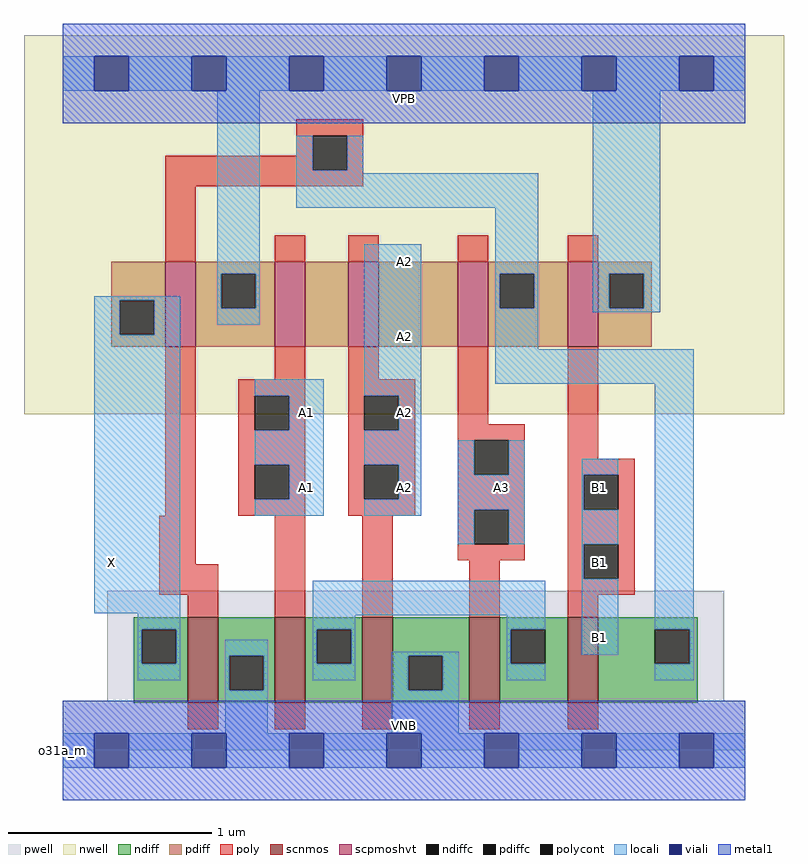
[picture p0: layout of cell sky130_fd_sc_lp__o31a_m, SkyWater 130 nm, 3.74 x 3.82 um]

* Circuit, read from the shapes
.subckt sky130_fd_sc_lp__o31a_m A1 A2 A3 B1 VGND VNB VPB VPWR X
XM1 VGND n1 X VNB sky130_fd_pr__nfet_01v8 w=0.42 l=0.15
XM2 n2 A1 VGND VNB sky130_fd_pr__nfet_01v8 w=0.42 l=0.15
XM3 VGND A2 n2 VNB sky130_fd_pr__nfet_01v8 w=0.42 l=0.15
XM4 n2 A3 VGND VNB sky130_fd_pr__nfet_01v8 w=0.42 l=0.15
XM5 n1 B1 n2 VNB sky130_fd_pr__nfet_01v8 w=0.42 l=0.15
XM6 VPWR n1 X VPB sky130_fd_pr__pfet_01v8_hvt w=0.42 l=0.15
XM7 n3 A1 VPWR VPB sky130_fd_pr__pfet_01v8_hvt w=0.42 l=0.15
XM8 n4 A2 n3 VPB sky130_fd_pr__pfet_01v8_hvt w=0.42 l=0.15
XM9 n1 A3 n4 VPB sky130_fd_pr__pfet_01v8_hvt w=0.42 l=0.15
XM10 VPWR B1 n1 VPB sky130_fd_pr__pfet_01v8_hvt w=0.42 l=0.15
.ends

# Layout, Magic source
magic
tech sky130A
magscale 1 2
<< nwell >>
rect -38 331 710 704
<< pwell >>
rect 44 49 651 157
rect 0 0 672 49
<< scnmos >>
rect 123 47 153 131
rect 209 47 239 131
rect 295 47 325 131
rect 400 47 430 131
rect 497 47 527 131
<< scpmoshvt >>
rect 101 397 131 481
rect 209 397 239 481
rect 281 397 311 481
rect 389 397 419 481
rect 497 397 527 481
<< ndiff >>
rect 70 119 123 131
rect 70 85 78 119
rect 112 85 123 119
rect 70 47 123 85
rect 153 93 209 131
rect 153 59 164 93
rect 198 59 209 93
rect 153 47 209 59
rect 239 119 295 131
rect 239 85 250 119
rect 284 85 295 119
rect 239 47 295 85
rect 325 93 400 131
rect 325 59 340 93
rect 374 59 400 93
rect 325 47 400 59
rect 430 119 497 131
rect 430 85 441 119
rect 475 85 497 119
rect 430 47 497 85
rect 527 119 625 131
rect 527 85 583 119
rect 617 85 625 119
rect 527 47 625 85
<< pdiff >>
rect 48 443 101 481
rect 48 409 56 443
rect 90 409 101 443
rect 48 397 101 409
rect 131 469 209 481
rect 131 435 156 469
rect 190 435 209 469
rect 131 397 209 435
rect 239 397 281 481
rect 311 397 389 481
rect 419 469 497 481
rect 419 435 430 469
rect 464 435 497 469
rect 419 397 497 435
rect 527 469 580 481
rect 527 435 538 469
rect 572 435 580 469
rect 527 397 580 435
<< ndiffc >>
rect 78 85 112 119
rect 164 59 198 93
rect 250 85 284 119
rect 340 59 374 93
rect 441 85 475 119
rect 583 85 617 119
<< pdiffc >>
rect 56 409 90 443
rect 156 435 190 469
rect 430 435 464 469
rect 538 435 572 469
<< poly >>
rect 230 605 296 621
rect 230 585 246 605
rect 101 571 246 585
rect 280 571 296 605
rect 101 555 296 571
rect 101 481 131 555
rect 209 481 239 507
rect 281 481 311 507
rect 389 481 419 507
rect 497 481 527 507
rect 101 231 131 397
rect 209 365 239 397
rect 173 349 239 365
rect 173 315 189 349
rect 223 315 239 349
rect 173 281 239 315
rect 173 247 189 281
rect 223 247 239 281
rect 173 231 239 247
rect 281 365 311 397
rect 281 349 347 365
rect 281 315 297 349
rect 331 315 347 349
rect 281 281 347 315
rect 281 247 297 281
rect 331 247 347 281
rect 281 231 347 247
rect 389 321 419 397
rect 389 305 455 321
rect 389 271 405 305
rect 439 271 455 305
rect 389 237 455 271
rect 95 183 131 231
rect 95 153 153 183
rect 123 131 153 153
rect 209 131 239 231
rect 295 131 325 231
rect 389 203 405 237
rect 439 203 455 237
rect 389 187 455 203
rect 497 287 527 397
rect 497 271 563 287
rect 497 237 513 271
rect 547 237 563 271
rect 497 203 563 237
rect 400 131 430 187
rect 497 169 513 203
rect 547 169 563 203
rect 497 153 563 169
rect 497 131 527 153
rect 123 21 153 47
rect 209 21 239 47
rect 295 21 325 47
rect 400 21 430 47
rect 497 21 527 47
<< polycont >>
rect 246 571 280 605
rect 189 315 223 349
rect 189 247 223 281
rect 297 315 331 349
rect 297 247 331 281
rect 405 271 439 305
rect 405 203 439 237
rect 513 237 547 271
rect 513 169 547 203
<< locali >>
rect 0 649 31 683
rect 65 649 127 683
rect 161 649 223 683
rect 257 649 319 683
rect 353 649 415 683
rect 449 649 511 683
rect 545 649 607 683
rect 641 649 672 683
rect 152 469 194 649
rect 230 571 246 605
rect 280 571 296 605
rect 230 568 296 571
rect 230 534 468 568
rect 31 443 116 447
rect 31 409 56 443
rect 90 409 116 443
rect 152 435 156 469
rect 190 435 194 469
rect 152 419 194 435
rect 31 135 116 409
rect 189 349 257 365
rect 223 315 257 349
rect 189 281 257 315
rect 223 247 257 281
rect 189 231 257 247
rect 297 349 353 498
rect 426 469 468 534
rect 426 435 430 469
rect 464 435 468 469
rect 426 395 468 435
rect 522 469 588 649
rect 522 435 538 469
rect 572 435 588 469
rect 522 431 588 435
rect 426 361 621 395
rect 331 315 353 349
rect 297 281 353 315
rect 331 247 353 281
rect 297 231 353 247
rect 389 271 405 305
rect 439 271 455 305
rect 389 237 455 271
rect 389 203 405 237
rect 439 203 455 237
rect 511 271 547 287
rect 511 237 513 271
rect 511 203 547 237
rect 511 169 513 203
rect 74 119 116 135
rect 74 85 78 119
rect 112 85 116 119
rect 246 133 475 167
rect 246 119 288 133
rect 74 69 116 85
rect 160 93 202 109
rect 160 59 164 93
rect 198 59 202 93
rect 246 85 250 119
rect 284 85 288 119
rect 437 119 475 133
rect 246 69 288 85
rect 324 93 390 97
rect 160 17 202 59
rect 324 59 340 93
rect 374 59 390 93
rect 437 85 441 119
rect 511 94 547 169
rect 583 119 621 361
rect 437 69 475 85
rect 617 85 621 119
rect 583 69 621 85
rect 324 17 390 59
rect 0 -17 31 17
rect 65 -17 127 17
rect 161 -17 223 17
rect 257 -17 319 17
rect 353 -17 415 17
rect 449 -17 511 17
rect 545 -17 607 17
rect 641 -17 672 17
<< viali >>
rect 31 649 65 683
rect 127 649 161 683
rect 223 649 257 683
rect 319 649 353 683
rect 415 649 449 683
rect 511 649 545 683
rect 607 649 641 683
rect 31 -17 65 17
rect 127 -17 161 17
rect 223 -17 257 17
rect 319 -17 353 17
rect 415 -17 449 17
rect 511 -17 545 17
rect 607 -17 641 17
<< metal1 >>
rect 0 683 672 715
rect 0 649 31 683
rect 65 649 127 683
rect 161 649 223 683
rect 257 649 319 683
rect 353 649 415 683
rect 449 649 511 683
rect 545 649 607 683
rect 641 649 672 683
rect 0 617 672 649
rect 0 17 672 49
rect 0 -17 31 17
rect 65 -17 127 17
rect 161 -17 223 17
rect 257 -17 319 17
rect 353 -17 415 17
rect 449 -17 511 17
rect 545 -17 607 17
rect 641 -17 672 17
rect 0 -49 672 -17
<< labels >>
flabel pwell s 0 0 672 49 0 FreeSans 200 0 0 0 VNB
port 6 nsew ground bidirectional
flabel nwell s 0 617 672 666 0 FreeSans 200 0 0 0 VPB
port 7 nsew power bidirectional
rlabel comment s 0 0 0 0 4 o31a_m
flabel metal1 s 0 617 672 666 0 FreeSans 340 0 0 0 VPWR
port 8 nsew power bidirectional
flabel metal1 s 0 0 672 49 0 FreeSans 340 0 0 0 VGND
port 5 nsew ground bidirectional
flabel locali s 223 242 257 276 0 FreeSans 340 0 0 0 A1
port 1 nsew signal input
flabel locali s 223 316 257 350 0 FreeSans 340 0 0 0 A1
port 1 nsew signal input
flabel locali s 319 242 353 276 0 FreeSans 340 0 0 0 A2
port 2 nsew signal input
flabel locali s 319 316 353 350 0 FreeSans 340 0 0 0 A2
port 2 nsew signal input
flabel locali s 319 390 353 424 0 FreeSans 340 0 0 0 A2
port 2 nsew signal input
flabel locali s 319 464 353 498 0 FreeSans 340 0 0 0 A2
port 2 nsew signal input
flabel locali s 415 242 449 276 0 FreeSans 340 0 0 0 A3
port 3 nsew signal input
flabel locali s 511 94 545 128 0 FreeSans 340 0 0 0 B1
port 4 nsew signal input
flabel locali s 511 168 545 202 0 FreeSans 340 0 0 0 B1
port 4 nsew signal input
flabel locali s 511 242 545 276 0 FreeSans 340 0 0 0 B1
port 4 nsew signal input
flabel locali s 31 168 65 202 0 FreeSans 340 0 0 0 X
port 9 nsew signal output
<< properties >>
string LEFsite unit
string LEFclass CORE
string FIXED_BBOX 0 0 672 666
string GDS_FILE $PDKPATH/libs.ref/sky130_fd_sc_lp/gds/sky130_fd_sc_lp.gds
string LEFsymmetry X Y R90
string GDS_END 1273848
string GDS_START 1267410
<< end >>
